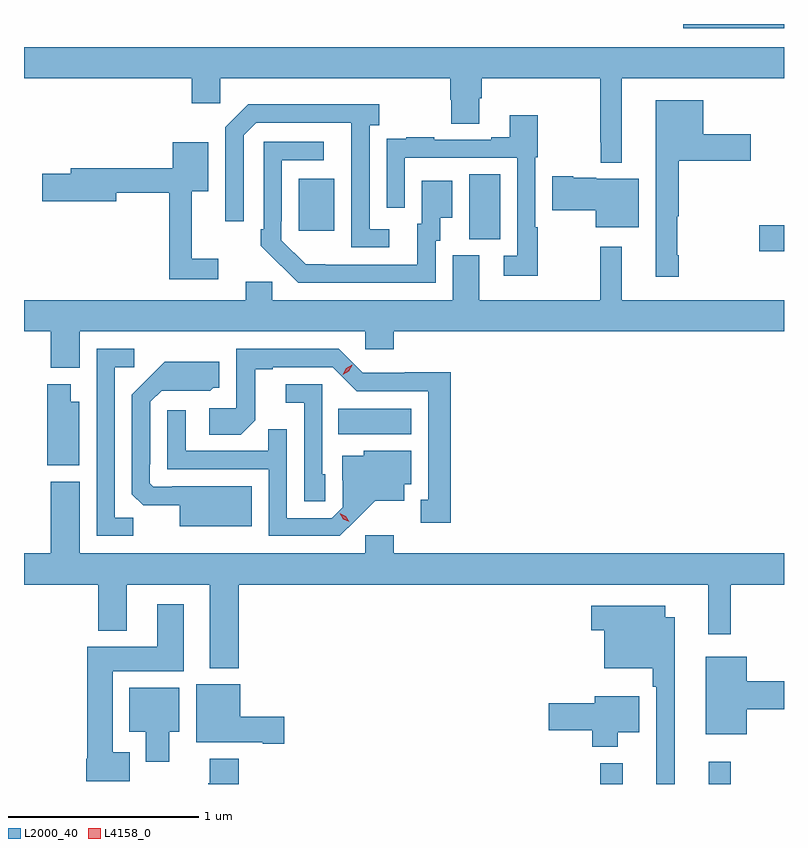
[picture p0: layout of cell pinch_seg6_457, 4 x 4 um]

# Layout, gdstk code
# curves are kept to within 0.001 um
import gdstk
lib = gdstk.Library(unit=1e-6, precision=1e-09)
def R(c, l, rs):  # rectangles x0, y0, x1, y1
    for r in rs: c.add(gdstk.rectangle(r[:2], r[2:], *l))
def P(c, l, *ps):  # polygons
    for p in ps: c.add(gdstk.Polygon(p, *l))
L2000_40 = (2000, 40)
L4158_0 = (4158, 0)

pinch_seg6_457 = lib.new_cell('pinch_seg6_457')
R(pinch_seg6_457, L2000_40, [(761.233,915.65,761.351,915.76), (761.804,915.65,761.921,915.766), (759.856,917.492,760.24,917.626), (762.072,918.455,762.201,918.59), (760.544,918.517,760.708,918.86), (759.647,918.561,759.835,918.835), (761.67,919.628,762.201,919.65)])
P(pinch_seg6_457, L2000_40, [(761.347,919.364),(762.201,919.364),(762.201,919.528),(758.201,919.528),(758.201,919.364),(759.083,919.364),(759.083,919.233),(759.234,919.233),(759.234,919.364),(760.445,919.364),(760.445,919.251),(760.45,919.251),(760.45,919.126),(760.597,919.126),(760.597,919.258),(760.61,919.258),(760.61,919.364),(761.233,919.364),(761.233,919.027),(761.237,919.027),(761.237,918.92),(761.347,918.92)],
  [(761.647,918.433),(761.639,918.433),(761.639,918.639),(761.647,918.639),(761.647,918.929),(762.025,918.929),(762.025,919.071),(761.776,919.071),(761.776,919.249),(761.525,919.249),(761.525,918.321),(761.647,918.321)],
  [(760.123,918.57),(760.02,918.57),(760.02,919.118),(760.072,919.118),(760.072,919.228),(759.382,919.228),(759.261,919.107),(759.261,918.612),(759.357,918.612),(759.357,919.065),(759.423,919.131),(759.923,919.131),(759.924,918.474),(760.123,918.474)],
  [(760.906,918.581),(760.893,918.581),(760.893,918.948),(760.906,918.948),(760.906,919.171),(760.757,919.171),(760.757,919.054),(760.661,919.054),(760.661,919.041),(760.361,919.041),(760.361,919.054),(760.213,919.054),(760.213,919.047),(760.111,919.047),(760.111,918.938),(760.11,918.938),(760.11,918.684),(760.206,918.684),(760.206,918.945),(760.797,918.945),(760.797,918.429),(760.725,918.429),(760.725,918.324),(760.906,918.324)],
  [(760.368,918.51),(760.393,918.51),(760.393,918.629),(760.456,918.629),(760.456,918.826),(760.295,918.826),(760.295,918.6),(760.271,918.6),(760.271,918.384),(759.684,918.385),(759.555,918.513),(759.555,918.613),(759.558,918.613),(759.558,918.933),(759.778,918.933),(759.778,919.029),(759.462,919.029),(759.462,918.571),(759.447,918.571),(759.447,918.483),(759.644,918.288),(760.368,918.288)],
  [(759.223,918.415),(759.083,918.415),(759.083,918.77),(759.172,918.77),(759.172,919.027),(758.984,919.027),(758.984,918.892),(758.447,918.892),(758.447,918.863),(758.298,918.863),(758.298,918.716),(758.686,918.716),(758.686,918.763),(758.965,918.763),(758.965,918.306),(759.223,918.306)],
  [(761.437,918.835),(761.214,918.835),(761.214,918.842),(761.092,918.842),(761.092,918.848),(760.98,918.848),(760.98,918.67),(761.21,918.67),(761.21,918.581),(761.437,918.581)],
  [(758.494,918.032),(759.996,918.032),(759.996,917.939),(760.148,917.939),(760.148,918.032),(762.201,918.032),(762.201,918.196),(761.347,918.196),(761.347,918.478),(761.233,918.478),(761.233,918.196),(760.597,918.196),(760.597,918.432),(760.457,918.432),(760.457,918.196),(759.507,918.196),(759.507,918.294),(759.368,918.294),(759.368,918.196),(758.201,918.196),(758.201,918.032),(758.342,918.032),(758.342,917.84),(758.494,917.84)],
  [(760.447,917.816),(760.206,917.816),(760.206,917.814),(759.984,917.814),(759.858,917.94),(759.318,917.94),(759.318,917.628),(759.177,917.628),(759.177,917.488),(759.341,917.488),(759.417,917.564),(759.417,917.832),(759.511,917.832),(759.511,917.844),(759.825,917.844),(759.951,917.718),(760.328,917.718),(760.328,917.145),(760.289,917.145),(760.289,917.025),(760.447,917.025)],
  [(758.775,917.051),(758.679,917.051),(758.679,917.844),(758.782,917.844),(758.782,917.94),(758.583,917.94),(758.583,916.956),(758.775,916.956)],
  [(759.4,917.218),(758.98,917.218),(758.98,917.214),(758.88,917.214),(758.862,917.232),(758.862,917.332),(758.865,917.332),(758.865,917.661),(758.925,917.721),(759.182,917.72),(759.198,917.736),(759.229,917.736),(759.229,917.872),(758.941,917.872),(758.769,917.698),(758.769,917.176),(758.828,917.117),(759.02,917.117),(759.02,917.006),(759.4,917.006)],
  [(758.491,917.662),(758.446,917.662),(758.446,917.755),(758.324,917.755),(758.324,917.327),(758.491,917.327)],
  [(759.786,917.28),(759.771,917.28),(759.771,917.754),(759.579,917.754),(759.579,917.657),(759.675,917.657),(759.675,917.137),(759.786,917.137)],
  [(759.946,917.039),(760.049,917.141),(760.201,917.141),(760.201,917.228),(760.24,917.228),(760.24,917.404),(759.99,917.404),(759.99,917.377),(759.875,917.377),(759.875,917.248),(759.879,917.248),(759.879,917.106),(759.822,917.049),(759.585,917.049),(759.585,917.516),(759.487,917.516),(759.487,917.403),(759.051,917.403),(759.051,917.617),(758.955,917.617),(758.955,917.307),(759.489,917.307),(759.489,916.956),(759.862,916.956)],
  [(759.332,916.7),(761.803,916.7),(761.803,916.437),(761.921,916.437),(761.921,916.7),(762.201,916.7),(762.201,916.864),(760.148,916.864),(760.148,916.96),(759.996,916.96),(759.996,916.864),(758.494,916.864),(758.494,917.242),(758.342,917.242),(758.342,916.864),(758.201,916.864),(758.201,916.7),(758.591,916.7),(758.591,916.457),(758.743,916.457),(758.743,916.7),(759.179,916.7),(759.179,916.259),(759.332,916.259)],
  [(758.758,915.817),(758.668,915.817),(758.668,916.244),(759.043,916.244),(759.043,916.597),(758.903,916.597),(758.903,916.372),(758.534,916.372),(758.534,915.783),(758.528,915.783),(758.528,915.665),(758.758,915.665)],
  [(761.626,916.528),(761.575,916.528),(761.575,916.588),(761.187,916.588),(761.187,916.459),(761.255,916.459),(761.255,916.259),(761.509,916.259),(761.509,916.163),(761.529,916.163),(761.529,915.65),(761.626,915.65)],
  [(762.004,916.043),(762.201,916.043),(762.201,916.19),(762.004,916.19),(762.004,916.321),(761.789,916.321),(761.789,915.911),(762.004,915.911)],
  [(759.571,916.004),(759.34,916.004),(759.34,916.174),(759.107,916.174),(759.107,915.869),(759.458,915.869),(759.458,915.862),(759.571,915.862)],
  [(758.965,915.926),(759.019,915.926),(759.019,916.156),(758.756,916.156),(758.756,915.926),(758.843,915.926),(758.843,915.768),(758.965,915.768)],
  [(761.326,915.923),(761.44,915.923),(761.44,916.111),(761.204,916.111),(761.204,916.076),(760.962,916.076),(760.962,915.934),(761.192,915.934),(761.192,915.845),(761.326,915.845)],
  [(759.332,915.784),(759.179,915.784),(759.179,915.653),(759.172,915.653),(759.172,915.65),(759.332,915.65)])
P(pinch_seg6_457, L4158_0, [(759.912,917.03),(759.881,917.044),(759.863,917.074),(759.863,917.074),(759.864,917.074),(759.895,917.06),(759.913,917.03),(759.913,917.03)],
  [(759.878,917.804),(759.878,917.805),(759.896,917.837),(759.928,917.856),(759.928,917.856),(759.928,917.855),(759.91,917.823),(759.878,917.804)])

lib.write_gds('pinch_seg6_457.gds')
